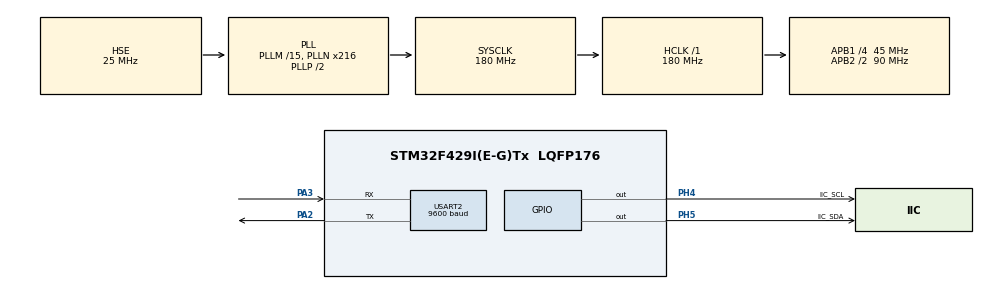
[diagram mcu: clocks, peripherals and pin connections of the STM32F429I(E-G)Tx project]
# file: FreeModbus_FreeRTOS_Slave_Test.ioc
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FREERTOS.Tasks01=defaultTask,24,128,StartDefaultTask,As weak,NULL,Dynamic,NULL,NULL
Mcu.Family=STM32F4
Mcu.Name=STM32F429I(E-G)Tx
Mcu.Package=LQFP176
NVIC.PriorityGroup=NVIC_PRIORITYGROUP_4
NVIC.TIM2_IRQn=true\:6\:0\:true\:false\:false\:true\:true\:true\:true
NVIC.TIM8_TRG_COM_TIM14_IRQn=true\:15\:0\:false\:false\:true\:false\:false\:true\:true
NVIC.TimeBase=TIM8_TRG_COM_TIM14_IRQn
NVIC.TimeBaseIP=TIM14
NVIC.USART2_IRQn=true\:5\:0\:true\:false\:false\:true\:true\:true\:true
PA13.Mode=Serial_Wire
PA13.Signal=SYS_JTMS-SWDIO
PA14.Mode=Serial_Wire
PA14.Signal=SYS_JTCK-SWCLK
PA2.Mode=Asynchronous
PA2.Signal=USART2_TX
PA3.Mode=Asynchronous
PA3.Signal=USART2_RX
PH0/OSC_IN.Mode=HSE-External-Oscillator
PH0/OSC_IN.Signal=RCC_OSC_IN
PH1/OSC_OUT.Mode=HSE-External-Oscillator
PH1/OSC_OUT.Signal=RCC_OSC_OUT
PH4.GPIO_Label=IIC_SCL
PH4.GPIO_ModeDefaultOutputPP=GPIO_MODE_OUTPUT_OD
PH4.GPIO_PuPd=GPIO_NOPULL
PH4.GPIO_Speed=GPIO_SPEED_FREQ_HIGH
PH4.Signal=GPIO_Output
PH5.GPIO_Label=IIC_SDA
PH5.GPIO_ModeDefaultOutputPP=GPIO_MODE_OUTPUT_OD
PH5.GPIO_PuPd=GPIO_NOPULL
PH5.GPIO_Speed=GPIO_SPEED_FREQ_HIGH
PH5.Signal=GPIO_Output
ProjectManager.HeapSize=0x200
ProjectManager.StackSize=0x400
ProjectManager.TargetToolchain=Makefile
RCC.48MHZClocksFreq_Value=90000000
RCC.AHBFreq_Value=180000000
RCC.APB1CLKDivider=RCC_HCLK_DIV4
RCC.APB1Freq_Value=45000000
RCC.APB1TimFreq_Value=90000000
RCC.APB2CLKDivider=RCC_HCLK_DIV2
RCC.APB2Freq_Value=90000000
RCC.APB2TimFreq_Value=180000000
RCC.CortexFreq_Value=180000000
RCC.HCLKFreq_Value=180000000
RCC.HSE_VALUE=25000000
RCC.HSI_VALUE=16000000
RCC.LSE_VALUE=32768
RCC.PLLM=15
RCC.PLLN=216
RCC.PLLSourceVirtual=RCC_PLLSOURCE_HSE
RCC.SYSCLKFreq_VALUE=180000000
RCC.SYSCLKSource=RCC_SYSCLKSOURCE_PLLCLK
RCC.VCOOutputFreq_Value=360000000
TIM2.Prescaler=4500-1
USART2.BaudRate=9600
USART2.VirtualMode=VM_ASYNC
VP_FREERTOS_VS_CMSIS_V2.Mode=CMSIS_V2
VP_SYS_VS_tim14.Mode=TIM14
VP_TIM2_VS_ClockSourceINT.Mode=Internal
board=custom

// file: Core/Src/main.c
/* USER CODE BEGIN Header */
/**
  ******************************************************************************
  * @file           : main.c
  * @brief          : Main program body
  ******************************************************************************
  * @attention
  *
  * Copyright (c) 2025 STMicroelectronics.
  * All rights reserved.
  *
  * This software is licensed under terms that can be found in the LICENSE file
  * in the root directory of this software component.
  * If no LICENSE file comes with this software, it is provided AS-IS.
  *
  ******************************************************************************
  */
/* USER CODE END Header */
#include "main.h"
#include "cmsis_os.h"
#include "tim.h"
#include "usart.h"
#include "gpio.h"

/* USER CODE BEGIN Includes */
#include "pcf8574.h"
/* USER CODE END Includes */

void SystemClock_Config(void);
void MX_FREERTOS_Init(void);

int main(void)
{

  /* MCU Configuration--------------------------------------------------------*/

  /* Reset of all peripherals, Initializes the Flash interface and the Systick. */
  HAL_Init();

  /* Configure the system clock */
  SystemClock_Config();

  /* Initialize all configured peripherals */
  MX_GPIO_Init();
  MX_USART2_UART_Init();
  MX_TIM2_Init();
  /* USER CODE BEGIN 2 */
  PCF8574_Init();
  /* USER CODE END 2 */

  /* Init scheduler */
  osKernelInitialize();

  /* Call init function for freertos objects (in cmsis_os2.c) */
  MX_FREERTOS_Init();

  /* Start scheduler */
  osKernelStart();

  /* We should never get here as control is now taken by the scheduler */

  /* Infinite loop */
  while (1)
  {

  }
}

void SystemClock_Config(void)
{
  RCC_OscInitTypeDef RCC_OscInitStruct = {0};
  RCC_ClkInitTypeDef RCC_ClkInitStruct = {0};

  /** Configure the main internal regulator output voltage
  */
  __HAL_RCC_PWR_CLK_ENABLE();
  __HAL_PWR_VOLTAGESCALING_CONFIG(PWR_REGULATOR_VOLTAGE_SCALE1);

  /** Initializes the RCC Oscillators according to the specified parameters
  * in the RCC_OscInitTypeDef structure.
  */
  RCC_OscInitStruct.OscillatorType = RCC_OSCILLATORTYPE_HSE;
  RCC_OscInitStruct.HSEState = RCC_HSE_ON;
  RCC_OscInitStruct.PLL.PLLState = RCC_PLL_ON;
  RCC_OscInitStruct.PLL.PLLSource = RCC_PLLSOURCE_HSE;
  RCC_OscInitStruct.PLL.PLLM = 15;
  RCC_OscInitStruct.PLL.PLLN = 216;
  RCC_OscInitStruct.PLL.PLLP = RCC_PLLP_DIV2;
  RCC_OscInitStruct.PLL.PLLQ = 4;
  if (HAL_RCC_OscConfig(&RCC_OscInitStruct) != HAL_OK)
  {
    Error_Handler();
  }

  /** Activate the Over-Drive mode
  */
  if (HAL_PWREx_EnableOverDrive() != HAL_OK)
  {
    Error_Handler();
  }

  /** Initializes the CPU, AHB and APB buses clocks
  */
  RCC_ClkInitStruct.ClockType = RCC_CLOCKTYPE_HCLK|RCC_CLOCKTYPE_SYSCLK
                              |RCC_CLOCKTYPE_PCLK1|RCC_CLOCKTYPE_PCLK2;
  RCC_ClkInitStruct.SYSCLKSource = RCC_SYSCLKSOURCE_PLLCLK;
  RCC_ClkInitStruct.AHBCLKDivider = RCC_SYSCLK_DIV1;
  RCC_ClkInitStruct.APB1CLKDivider = RCC_HCLK_DIV4;
  RCC_ClkInitStruct.APB2CLKDivider = RCC_HCLK_DIV2;

  if (HAL_RCC_ClockConfig(&RCC_ClkInitStruct, FLASH_LATENCY_5) != HAL_OK)
  {
    Error_Handler();
  }
}

void HAL_TIM_PeriodElapsedCallback(TIM_HandleTypeDef *htim)
{
  if (htim->Instance == TIM14) {
    HAL_IncTick();
  }
}

void Error_Handler(void)
{
  __disable_irq();
  while (1)
  {
  }
}

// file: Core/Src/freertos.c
/* USER CODE BEGIN Header */
/**
 ******************************************************************************
 * File Name          : freertos.c
 * Description        : Code for freertos applications
 ******************************************************************************
 * @attention
 *
 * Copyright (c) 2025 STMicroelectronics.
 * All rights reserved.
 *
 * This software is licensed under terms that can be found in the LICENSE file
 * in the root directory of this software component.
 * If no LICENSE file comes with this software, it is provided AS-IS.
 *
 ******************************************************************************
 */
/* USER CODE END Header */

#include "FreeRTOS.h"
#include "task.h"
#include "main.h"
#include "cmsis_os.h"

/* USER CODE BEGIN Includes */
#include "mb.h"
#include "mbport.h"
/* USER CODE END Includes */

/* USER CODE BEGIN Variables */
osThreadId_t modbus_slave_TaskHandle;
const osThreadAttr_t modbus_slave_Task_attributes = {
    .name       = "modbus_slave_Task",
    .stack_size = 128 * 4,
    .priority   = (osPriority_t)osPriorityNormal,
};
/* USER CODE END Variables */
/* Definitions for defaultTask */
osThreadId_t defaultTaskHandle;
const osThreadAttr_t defaultTask_attributes = {
  .name = "defaultTask",
  .stack_size = 128 * 4,
  .priority = (osPriority_t) osPriorityNormal,
};

/* USER CODE BEGIN FunctionPrototypes */
void modbus_slave_Task(void *argument);
/* USER CODE END FunctionPrototypes */

void StartDefaultTask(void *argument);

void MX_FREERTOS_Init(void); /* (MISRA C 2004 rule 8.1) */

void MX_FREERTOS_Init(void) {

  /* Create the thread(s) */
  /* creation of defaultTask */
  defaultTaskHandle = osThreadNew(StartDefaultTask, NULL, &defaultTask_attributes);

  /* USER CODE BEGIN RTOS_THREADS */
    /* add threads, ... */
    modbus_slave_TaskHandle = osThreadNew(modbus_slave_Task, NULL, &modbus_slave_Task_attributes);
  /* USER CODE END RTOS_THREADS */

}

__weak void StartDefaultTask(void *argument)
{
    for (;;) {
        osDelay(1);
    }
}

/* USER CODE BEGIN Application */
void modbus_slave_Task(void *argument)
{
  eMBInit(MB_RTU, 0x01, 0, 9600, MB_PAR_NONE);
  eMBEnable();
  for(;;)
  {
    eMBPoll();
    //osDelay(1);
  }
}
/* USER CODE END Application */
